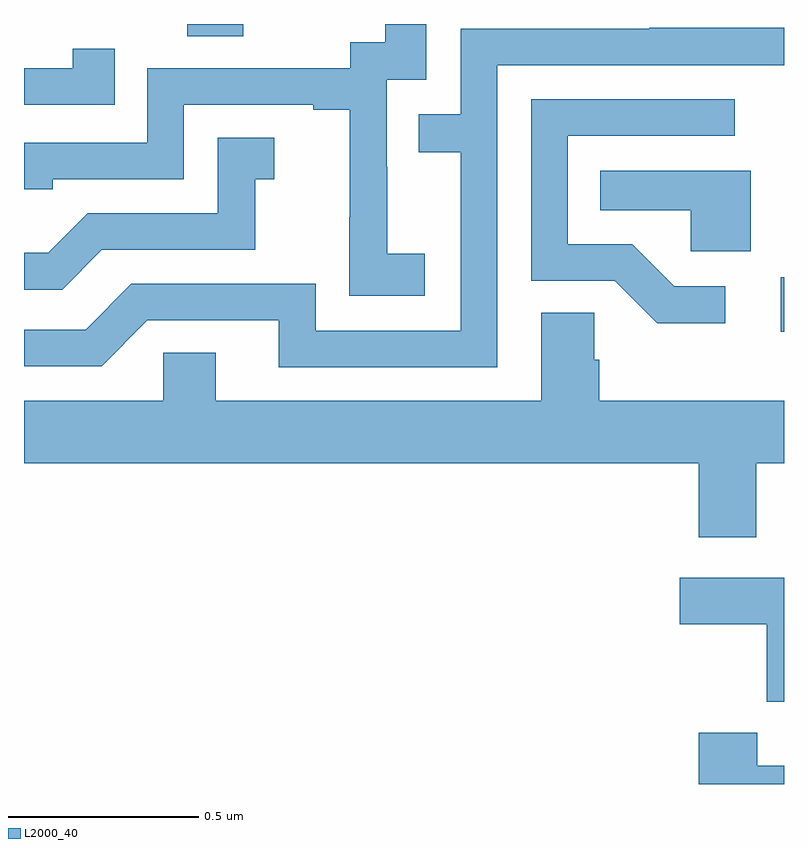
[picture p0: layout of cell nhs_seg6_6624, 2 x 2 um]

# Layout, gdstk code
import gdstk
lib = gdstk.Library(unit=1e-6, precision=1e-09)
def R(c, l, rs):  # rectangles x0, y0, x1, y1
    for r in rs: c.add(gdstk.rectangle(r[:2], r[2:], *l))
def P(c, l, *ps):  # polygons
    for p in ps: c.add(gdstk.Polygon(p, *l))
L2000_40 = (2000, 40)

nhs_seg6_6624 = lib.new_cell('nhs_seg6_6624')
R(nhs_seg6_6624, L2000_40, [(199.991,939.69,200,939.834), (198.43,940.468,198.577,940.5)])
P(nhs_seg6_6624, L2000_40, [(199.054,939.895),(198.956,939.895),(198.956,940.124),(198.954,940.124),(198.954,940.353),(199.059,940.353),(199.059,940.5),(198.951,940.5),(198.951,940.452),(198.858,940.452),(198.858,940.383),(198.324,940.383),(198.324,940.188),(198,940.188),(198,940.065),(198.075,940.065),(198.075,940.092),(198.42,940.092),(198.42,940.287),(198.761,940.287),(198.761,940.275),(198.857,940.275),(198.857,939.991),(198.856,939.991),(198.856,939.785),(199.054,939.785)],
  [(199.245,940.392),(200,940.392),(200,940.49),(199.645,940.49),(199.645,940.488),(199.149,940.488),(199.149,940.263),(199.039,940.263),(199.039,940.162),(199.149,940.162),(199.149,939.693),(198.768,939.693),(198.768,939.816),(198.282,939.816),(198.162,939.696),(198,939.696),(198,939.6),(198.204,939.6),(198.324,939.72),(198.671,939.72),(198.671,939.597),(199.245,939.597)],
  [(198.239,940.435),(198.128,940.435),(198.128,940.383),(198,940.383),(198,940.287),(198.239,940.287)],
  [(199.846,939.81),(199.711,939.81),(199.6,939.921),(199.431,939.921),(199.431,940.206),(199.87,940.206),(199.87,940.302),(199.335,940.302),(199.335,939.825),(199.554,939.825),(199.667,939.713),(199.846,939.713)],
  [(198.205,939.906),(198.609,939.906),(198.609,940.091),(198.658,940.091),(198.658,940.201),(198.51,940.201),(198.51,940.002),(198.168,940.002),(198.064,939.898),(198,939.898),(198,939.801),(198.1,939.801)],
  [(199.912,940.114),(199.516,940.114),(199.516,940.01),(199.755,940.01),(199.755,939.902),(199.912,939.902)],
  [(199.927,939.344),(200,939.344),(200,939.508),(199.514,939.508),(199.514,939.617),(199.5,939.617),(199.5,939.74),(199.361,939.74),(199.361,939.508),(198.505,939.508),(198.505,939.635),(198.366,939.635),(198.366,939.508),(198,939.508),(198,939.344),(199.775,939.344),(199.775,939.15),(199.927,939.15)],
  [(200,939.043),(199.725,939.043),(199.725,938.921),(199.954,938.921),(199.954,938.717),(200,938.717)],
  [(200,938.548),(199.93,938.548),(199.93,938.635),(199.775,938.635),(199.775,938.5),(200,938.5)])

lib.write_gds('nhs_seg6_6624.gds')
